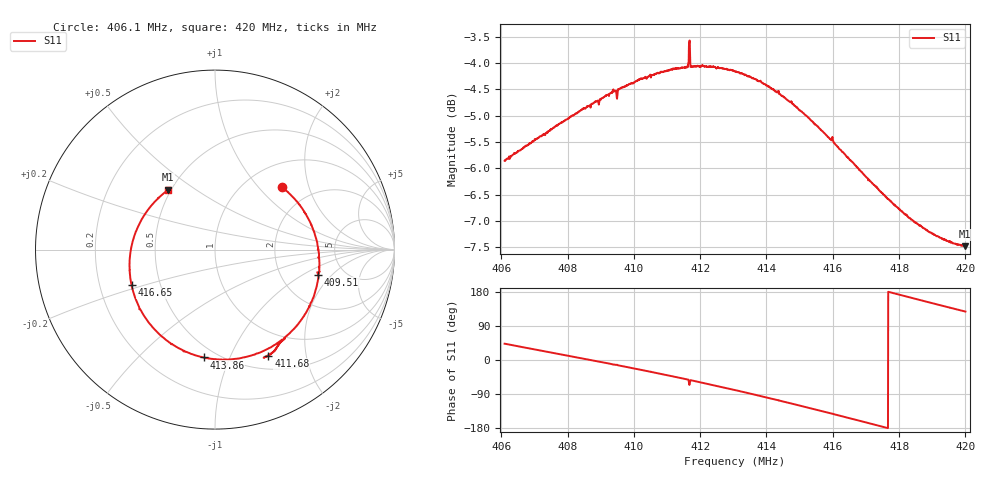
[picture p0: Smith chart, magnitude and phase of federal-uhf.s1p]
! Calibrated averaged scanner-service zoom
# Hz S RI R 50
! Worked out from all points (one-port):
!   2001 points, 406.1 MHz to 420 MHz, reference 50 ohm
!   lowest |S11| = -7.5 dB at 419.99 MHz (marker M1), VSWR 2.46, Z = 24.2 + j19.6 ohm
!   |S11| at or under -10 dB: nowhere
!   S11 on the Smith chart (normalised r, x): 406.1 MHz: 1.44, +1.35; 409.51 MHz: 3.25, -1.40; 411.68 MHz: 0.66, -1.40; 413.86 MHz: 0.43, -0.81; 416.65 MHz: 0.34, -0.18; 420 MHz: 0.48, +0.39
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4.061e8  0.3727 0.3476
4.068992e8  0.4602 0.2622
4.078375e8  0.5377 0.1353
4.087758e8  0.5776 -0.0145
4.095124e8  0.5758 -0.1397
4.09575e8  0.576 -0.1539
4.104854e8  0.5274 -0.3149
4.113125e8  0.4348 -0.4467
4.115766e8  0.3959 -0.4835
4.116252e8  0.3899 -0.4918
4.116808e8  0.2978 -0.5921
4.117295e8  0.3719 -0.504
4.117712e8  0.3647 -0.5087
4.119866e8  0.3275 -0.5336
4.125774e8  0.2137 -0.5864
4.1305e8  0.1147 -0.6085
4.138632e8  -0.0637 -0.6008
4.143496e8  -0.1642 -0.57
4.147875e8  -0.2504 -0.5198
4.156771e8  -0.3853 -0.3837
4.160524e8  -0.425 -0.315
4.16525e8  -0.4586 -0.2233
4.166501e8  -0.4649 -0.1992
4.173729e8  -0.4753 -0.0568
4.182625e8  -0.4389 0.1045
4.19166e8  -0.359 0.2401
4.19993e8  -0.2603 0.3331
4.2e8  -0.2594 0.334
